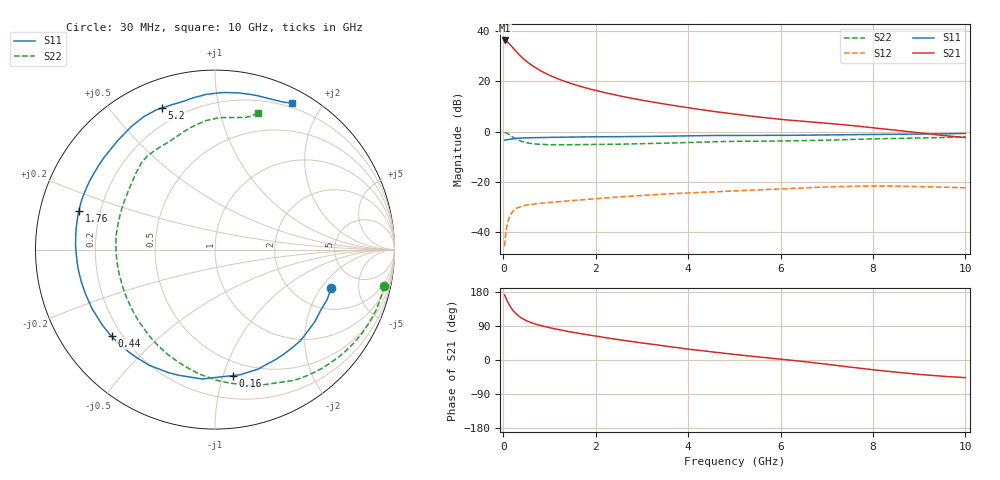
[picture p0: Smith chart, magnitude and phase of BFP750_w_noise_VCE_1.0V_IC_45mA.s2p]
! Infineon Technologies  Discrete & RF Semiconductors
! BFP750
! VCE =  1.0 V,  IC =  45 mA
! Common Emitter S-Parameters:  Jan 2016
# GHz  S  MA  R  50
!  f  S11  S21  S12  S22
! GHz  MAG  ANG  MAG  ANG  MAG  ANG  MAG  ANG
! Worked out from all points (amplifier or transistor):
!   229 points, 30 MHz to 10 GHz, reference 50 ohm
!   highest |S21| = 36.3 dB at 30 MHz (marker M1)
!   |S21| within 3 dB of that: start of sweep to 214 MHz
!   unconditionally stable (mu >= 1): 3.704 GHz to end of sweep
!   at 280 MHz: K = 0.16, MSG = 31.2 dB, |S12| = -30.6 dB
!   at 1.78 GHz: K = 0.70, MSG = 22.2 dB, |S12| = -27.0 dB
!   at 10 GHz: K = 1.10, MAG = 8.0 dB, |S12| = -22.3 dB
!   lowest NFmin = 0.99 dB at 450 MHz
!   S11 on the Smith chart (normalised r, x): 30 MHz: 3.16, -2.52; 160 MHz: 0.38, -1.08; 440 MHz: 0.16, -0.35; 1.76 GHz: 0.12, +0.14; 5.2 GHz: 0.13, +0.68; 10 GHz: 0.15, +1.65
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0.03  0.6823 -18.2  65.1 171.6  0.0053 81.6  0.9643 -12.2
0.05  0.6793 -30.0  64.5 165.4  0.0085 75.9  0.9583 -21.0
0.07  0.6886 -41.6  62.88 160.0  0.0119 71.8  0.943 -29.3
0.1  0.6972 -56.7  59.83 152.5  0.016 65.2  0.9123 -41.2
0.135  0.7073 -72.2  55.56 144.6  0.0201 58.1  0.8697 -53.8
0.16  0.7086 -82.0  52.48 139.8  0.0224 54.0  0.8348 -61.7
0.2  0.7245 -95.7  47.65 132.3  0.0256 48.1  0.7914 -73.8
0.3  0.7416 -119.8  37.57 119.2  0.0305 38.0  0.6992 -97.2
0.36  0.7455 -129.7  32.95 113.7  0.0321 33.9  0.6604 -107.8
0.44  0.7516 -140.1  28.09 107.6  0.0338 30.0  0.6245 -119.6
0.6  0.7598 -154.5  21.42 98.8  0.0359 25.5  0.5836 -136.8
0.9  0.7693 -170.7  14.66 88.1  0.0384 21.9  0.5561 -156.7
1.2  0.7772 178.5  11.07 80.0  0.0405 20.6  0.5505 -169.3
1.7  0.7877 165.4  7.819 69.1  0.0442 19.6  0.5535 176.5
1.76  0.7887 164.0  7.546 67.8  0.0447 19.4  0.5539 175.1
2.44  0.7964 150.1  5.331 54.7  0.0498 17.5  0.5627 160.4
3.4  0.8107 133.3  3.662 38.5  0.0569 13.3  0.5871 144.1
5.1  0.8433 111.7  2.182 13.5  0.0673 4.5  0.6442 124.5
5.2  0.8426 110.6  2.128 12.3  0.0679 3.9  0.6445 123.4
6.8  0.8601 95.4  1.525 -8.3  0.0783 -6.6  0.6722 106.7
8.4  0.8873 76.7  1.093 -30.8  0.0826 -21.6  0.7326 89.0
10  0.9225 62.2  0.762 -46.5  0.0769 -32.5  0.7967 72.6
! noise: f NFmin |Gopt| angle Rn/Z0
0.45  0.99  0.17  -167  0.46
0.9  1.01  0.22  -161  0.23
1.5  1.02  0.32  -156  0.09
1.9  1.03  0.33  -150  0.08
2.4  1.05  0.35  -144  0.09
3.5  1.28  0.37  -129  0.09
